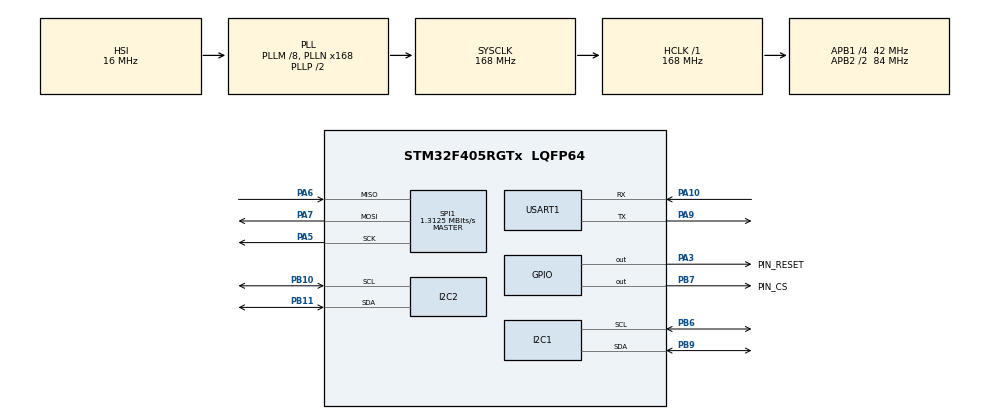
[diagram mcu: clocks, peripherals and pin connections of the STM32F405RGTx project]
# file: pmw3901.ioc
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Mcu.Family=STM32F4
Mcu.Name=STM32F405RGTx
Mcu.Package=LQFP64
NVIC.PriorityGroup=NVIC_PRIORITYGROUP_4
PA10.Mode=Asynchronous
PA10.Signal=USART1_RX
PA13.Mode=Serial_Wire
PA13.Signal=SYS_JTMS-SWDIO
PA14.Mode=Serial_Wire
PA14.Signal=SYS_JTCK-SWCLK
PA3.GPIO_Label=PIN_RESET
PA3.Signal=GPIO_Output
PA5.Mode=Full_Duplex_Master
PA5.Signal=SPI1_SCK
PA6.Mode=Full_Duplex_Master
PA6.Signal=SPI1_MISO
PA7.Mode=Full_Duplex_Master
PA7.Signal=SPI1_MOSI
PA9.Mode=Asynchronous
PA9.Signal=USART1_TX
PB10.Mode=I2C
PB10.Signal=I2C2_SCL
PB11.Mode=I2C
PB11.Signal=I2C2_SDA
PB6.Mode=I2C
PB6.Signal=I2C1_SCL
PB7.GPIO_Label=PIN_CS
PB7.Signal=GPIO_Output
PB9.Mode=I2C
PB9.Signal=I2C1_SDA
PH0-OSC_IN.Mode=HSE-External-Oscillator
PH0-OSC_IN.Signal=RCC_OSC_IN
PH1-OSC_OUT.Mode=HSE-External-Oscillator
PH1-OSC_OUT.Signal=RCC_OSC_OUT
ProjectManager.HeapSize=0x200
ProjectManager.StackSize=0x400
ProjectManager.TargetToolchain=STM32CubeIDE
RCC.48MHZClocksFreq_Value=84000000
RCC.AHBFreq_Value=168000000
RCC.APB1CLKDivider=RCC_HCLK_DIV4
RCC.APB1Freq_Value=42000000
RCC.APB1TimFreq_Value=84000000
RCC.APB2CLKDivider=RCC_HCLK_DIV2
RCC.APB2Freq_Value=84000000
RCC.APB2TimFreq_Value=168000000
RCC.CortexFreq_Value=168000000
RCC.HCLKFreq_Value=168000000
RCC.HSE_VALUE=25000000
RCC.HSI_VALUE=16000000
RCC.LSE_VALUE=32768
RCC.PLLM=8
RCC.PLLN=168
RCC.SYSCLKFreq_VALUE=168000000
RCC.SYSCLKSource=RCC_SYSCLKSOURCE_PLLCLK
RCC.VCOOutputFreq_Value=336000000
SPI1.BaudRatePrescaler=SPI_BAUDRATEPRESCALER_64
SPI1.CalculateBaudRate=1.3125 MBits/s
SPI1.Direction=SPI_DIRECTION_2LINES
SPI1.Mode=SPI_MODE_MASTER
SPI1.VirtualType=VM_MASTER
USART1.VirtualMode=VM_ASYNC
board=custom

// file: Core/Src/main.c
/* USER CODE BEGIN Header */
/**
  ******************************************************************************
  * @file           : main.c
  * @brief          : Main program body
  ******************************************************************************
  * @attention
  *
  * Copyright (c) 2024 STMicroelectronics.
  * All rights reserved.
  *
  * This software is licensed under terms that can be found in the LICENSE file
  * in the root directory of this software component.
  * If no LICENSE file comes with this software, it is provided AS-IS.
  *
  ******************************************************************************
  */
/* USER CODE END Header */
#include "main.h"
#include "i2c.h"
#include "spi.h"
#include "usart.h"
#include "gpio.h"

/* USER CODE BEGIN Includes */
#include "pmw3901.h"
/* USER CODE END Includes */

/* USER CODE BEGIN PV */
int16_t deltax=0;
int16_t deltay=0;
uint8_t Sprintmessage[512] = {'\0'};
/* USER CODE END PV */

void SystemClock_Config(void);
/* USER CODE BEGIN PFP */
void ReadMotion(int16_t *deltax, int16_t *deltay);
/* USER CODE END PFP */

int main(void)
{

  /* MCU Configuration--------------------------------------------------------*/

  /* Reset of all peripherals, Initializes the Flash interface and the Systick. */
  HAL_Init();

  /* Configure the system clock */
  SystemClock_Config();

  /* Initialize all configured peripherals */
  MX_GPIO_Init();
  MX_USART1_UART_Init();
  MX_SPI1_Init();
  MX_I2C1_Init();
  MX_I2C2_Init();
  /* USER CODE BEGIN 2 */
  uint8_t error = 0;

  HAL_GPIO_WritePin(PIN_RESET_GPIO_Port, PIN_RESET_Pin, GPIO_PIN_RESET);
  HAL_Delay(1);
  HAL_GPIO_WritePin(PIN_RESET_GPIO_Port, PIN_RESET_Pin, GPIO_PIN_SET);

  error = PMW3901_init();

  if(error){
	  while(1){
		  sprintf(Sprintmessage,"Init Failed!");
		  HAL_UART_Transmit(&huart1, Sprintmessage, strlen(Sprintmessage), HAL_MAX_DELAY);
		  HAL_Delay(1000);
	  }
  }

  /* USER CODE END 2 */

  /* Infinite loop */
  /* USER CODE BEGIN WHILE */
  while (1)
  {
	  ReadMotion(&deltax,&deltay);
	  if(deltax >= -32640 && deltax <-30000 ){
	  		deltax  = deltax + 32640;

	  }

	  if(deltay >= -32640 && deltay <-30000 ){
	  		deltay  = deltay + 32640;

	  }

	  sprintf(Sprintmessage, "deltaX: %d \t deltaY: %d ",deltax,deltay);
	  HAL_UART_Transmit(&huart1, Sprintmessage, strlen(Sprintmessage), 1000);

	  HAL_Delay(200);

    /* USER CODE END WHILE */

  }
}

void SystemClock_Config(void)
{
  RCC_OscInitTypeDef RCC_OscInitStruct = {0};
  RCC_ClkInitTypeDef RCC_ClkInitStruct = {0};

  /** Configure the main internal regulator output voltage
  */
  __HAL_RCC_PWR_CLK_ENABLE();
  __HAL_PWR_VOLTAGESCALING_CONFIG(PWR_REGULATOR_VOLTAGE_SCALE1);

  /** Initializes the RCC Oscillators according to the specified parameters
  * in the RCC_OscInitTypeDef structure.
  */
  RCC_OscInitStruct.OscillatorType = RCC_OSCILLATORTYPE_HSI;
  RCC_OscInitStruct.HSIState = RCC_HSI_ON;
  RCC_OscInitStruct.HSICalibrationValue = RCC_HSICALIBRATION_DEFAULT;
  RCC_OscInitStruct.PLL.PLLState = RCC_PLL_ON;
  RCC_OscInitStruct.PLL.PLLSource = RCC_PLLSOURCE_HSI;
  RCC_OscInitStruct.PLL.PLLM = 8;
  RCC_OscInitStruct.PLL.PLLN = 168;
  RCC_OscInitStruct.PLL.PLLP = RCC_PLLP_DIV2;
  RCC_OscInitStruct.PLL.PLLQ = 4;
  if (HAL_RCC_OscConfig(&RCC_OscInitStruct) != HAL_OK)
  {
    Error_Handler();
  }

  /** Initializes the CPU, AHB and APB buses clocks
  */
  RCC_ClkInitStruct.ClockType = RCC_CLOCKTYPE_HCLK|RCC_CLOCKTYPE_SYSCLK
                              |RCC_CLOCKTYPE_PCLK1|RCC_CLOCKTYPE_PCLK2;
  RCC_ClkInitStruct.SYSCLKSource = RCC_SYSCLKSOURCE_PLLCLK;
  RCC_ClkInitStruct.AHBCLKDivider = RCC_SYSCLK_DIV1;
  RCC_ClkInitStruct.APB1CLKDivider = RCC_HCLK_DIV4;
  RCC_ClkInitStruct.APB2CLKDivider = RCC_HCLK_DIV2;

  if (HAL_RCC_ClockConfig(&RCC_ClkInitStruct, FLASH_LATENCY_5) != HAL_OK)
  {
    Error_Handler();
  }
}

/* USER CODE BEGIN 4 */
void ReadMotion(int16_t *deltax, int16_t *deltay){
	ReadReg(0x02);
	*deltax  =  ((int16_t)ReadReg(0x04) << 8) | ReadReg(0x03);
	*deltay  =  ((int16_t)ReadReg(0x06) << 8) | ReadReg(0x05);

}
/* USER CODE END 4 */

void Error_Handler(void)
{
  __disable_irq();
  while (1)
  {
  }
}
